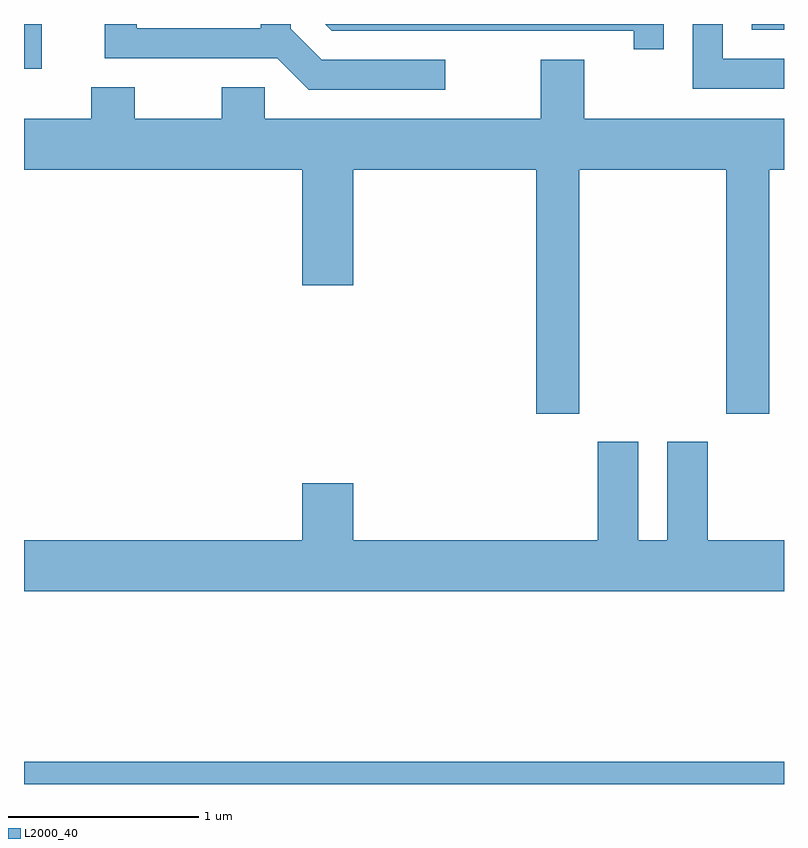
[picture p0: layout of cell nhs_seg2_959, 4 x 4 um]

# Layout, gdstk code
import gdstk
lib = gdstk.Library(unit=1e-6, precision=1e-09)
def R(c, l, rs):  # rectangles x0, y0, x1, y1
    for r in rs: c.add(gdstk.rectangle(r[:2], r[2:], *l))
def P(c, l, *ps):  # polygons
    for p in ps: c.add(gdstk.Polygon(p, *l))
L2000_40 = (2000, 40)

nhs_seg2_959 = lib.new_cell('nhs_seg2_959')
R(nhs_seg2_959, L2000_40, [(213.611,991.802,217.611,991.919), (213.611,995.566,213.704,995.802), (217.441,995.771,217.611,995.802)])
P(nhs_seg2_959, L2000_40, [(217.611,995.619),(217.289,995.619),(217.289,995.802),(217.131,995.802),(217.131,995.461),(217.611,995.461)],
  [(216.979,995.802),(215.196,995.802),(215.232,995.766),(216.821,995.766),(216.821,995.668),(216.979,995.668)],
  [(215.828,995.614),(215.177,995.614),(215.014,995.777),(215.014,995.802),(214.856,995.802),(214.856,995.779),(214.204,995.779),(214.204,995.802),(214.036,995.802),(214.036,995.621),(214.944,995.621),(215.109,995.456),(215.828,995.456)],
  [(216.534,995.036),(217.306,995.036),(217.306,993.751),(217.534,993.751),(217.534,995.036),(217.611,995.036),(217.611,995.304),(216.559,995.304),(216.559,995.614),(216.331,995.614),(216.331,995.304),(214.879,995.304),(214.879,995.469),(214.651,995.469),(214.651,995.304),(214.194,995.304),(214.194,995.469),(213.966,995.469),(213.966,995.304),(213.611,995.304),(213.611,995.036),(215.076,995.036),(215.076,994.426),(215.344,994.426),(215.344,995.036),(216.306,995.036),(216.306,993.751),(216.534,993.751)],
  [(217.611,993.084),(217.209,993.084),(217.209,993.604),(216.996,993.604),(216.996,993.084),(216.844,993.084),(216.844,993.604),(216.631,993.604),(216.631,993.084),(215.344,993.084),(215.344,993.384),(215.076,993.384),(215.076,993.084),(213.611,993.084),(213.611,992.816),(217.611,992.816)])

lib.write_gds('nhs_seg2_959.gds')
